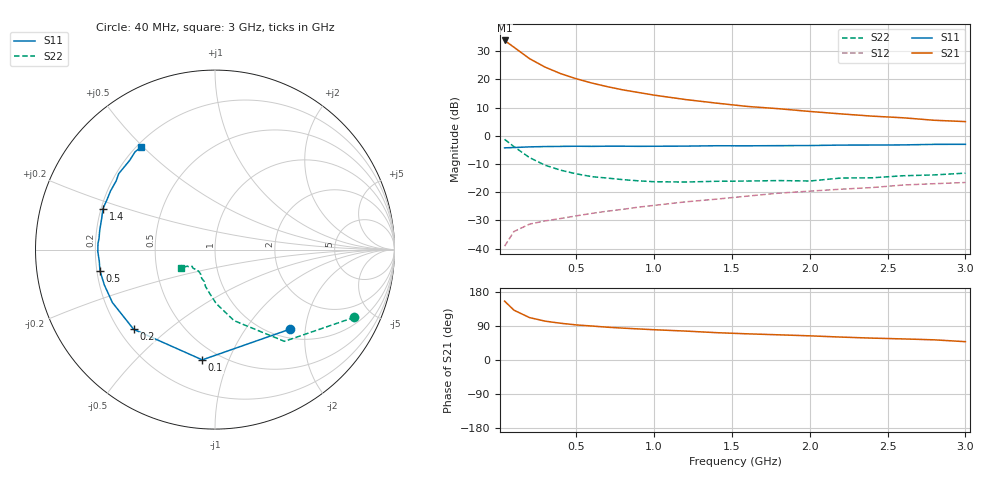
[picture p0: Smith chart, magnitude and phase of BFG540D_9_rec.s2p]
# MHz S MA R 50.00
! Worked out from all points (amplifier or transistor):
!   21 points, 40 MHz to 3 GHz, reference 50 ohm
!   highest |S21| = 33.8 dB at 40 MHz (marker M1)
!   |S21| within 3 dB of that: start of sweep to 114.7 MHz
!   unconditionally stable (mu >= 1): 777.6 MHz to end of sweep
!   at 300 MHz: K = 0.61, MSG = 27.3 dB, |S12| = -30.2 dB
!   at 1 GHz: K = 1.08, MAG = 17.8 dB, |S12| = -24.7 dB
!   at 3 GHz: K = 1.15, MAG = 8.4 dB, |S12| = -16.6 dB
!   S11 on the Smith chart (normalised r, x): 40 MHz: 1.18, -1.66; 100 MHz: 0.41, -0.81; 200 MHz: 0.26, -0.38; 500 MHz: 0.21, -0.09; 1.4 GHz: 0.21, +0.17; 3 GHz: 0.22, +0.49
40  0.6101 -46.5  49.01 155.3  0.011 69.0  0.8633 -25.9
100  0.6184 -96.6  37.15 131.5  0.02001 53.2  0.641 -52.9
200  0.6346 -135.6  23.31 111.9  0.02705 45.5  0.41 -75.0
300  0.6433 -152.7  16.5 102.5  0.03087 44.8  0.2998 -88.9
400  0.6472 -162.3  12.64 97.0  0.03404 47.5  0.245 -97.1
500  0.6517 -169.5  10.25 92.6  0.03789 50.5  0.211 -104.6
600  0.6479 -174.3  8.614 89.7  0.04194 53.8  0.1882 -108.2
700  0.6529 -178.9  7.423 86.6  0.04593 55.1  0.1775 -114.2
800  0.6528 177.1  6.512 84.1  0.04957 57.0  0.1664 -119.0
900  0.6491 174.3  5.855 82.0  0.05415 59.2  0.1586 -120.2
1000  0.6511 170.6  5.255 79.9  0.05817 60.6  0.153 -124.5
1200  0.6548 164.6  4.396 76.4  0.06711 62.9  0.151 -131.4
1400  0.6648 159.9  3.792 72.1  0.07508 64.0  0.1557 -135.8
1600  0.6629 155.3  3.31 69.1  0.08498 65.5  0.1572 -136.1
1800  0.6674 150.7  3.017 66.5  0.09587 65.6  0.1603 -140.9
2000  0.6703 145.3  2.698 63.8  0.1042 65.7  0.1575 -143.7
2200  0.6832 141.7  2.443 60.5  0.1127 65.0  0.1778 -147.9
2400  0.6841 137.4  2.228 57.7  0.1205 65.8  0.1795 -149.3
2600  0.6878 133.8  2.083 55.6  0.1337 65.4  0.1952 -150.2
2800  0.7036 129.3  1.881 53.2  0.1411 64.2  0.202 -155.0
3000  0.7048 126.0  1.782 48.4  0.1482 63.7  0.2172 -151.8
